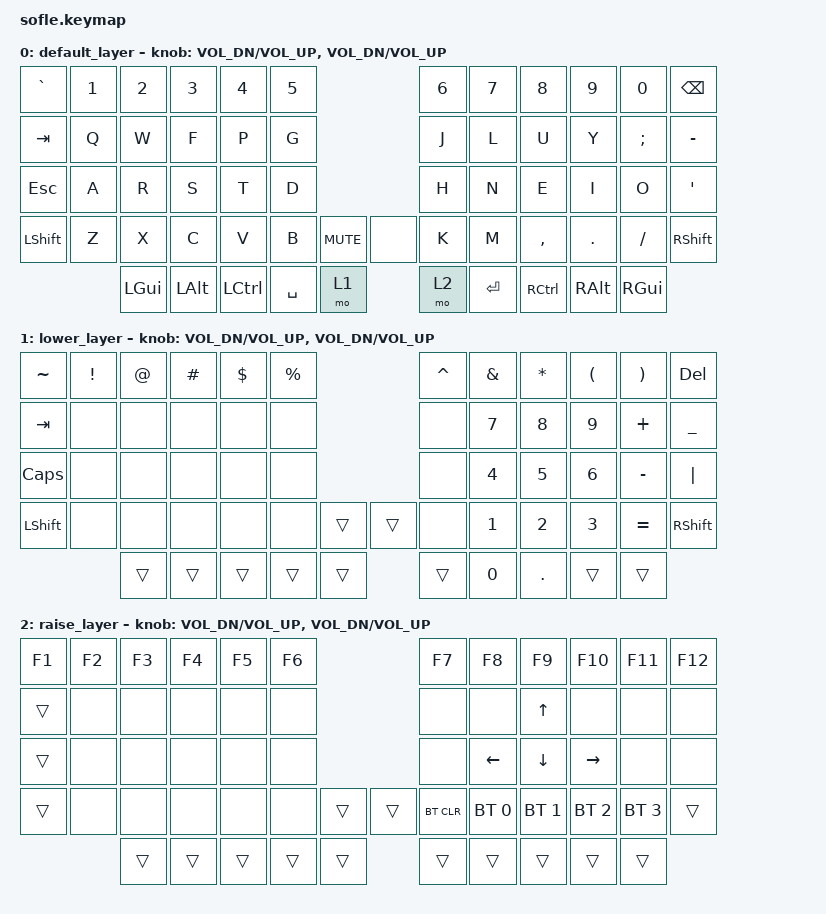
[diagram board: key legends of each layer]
#include <behaviors.dtsi>
#include <dt-bindings/zmk/keys.h>
#include <dt-bindings/zmk/bt.h>

/ {
    keymap {
        compatible = "zmk,keymap";

        default_layer {
            // ┌─────────┬─────┬─────┬─────┬─────┬─────┐               ┌─────┬─────┬─────┬─────┬─────┬─────────┐
            // │  GRAVE  │  1  │  2  │  3  │  4  │  5  │               │  6  │  7  │  8  │  9  │  0  │  BSPC   │
            // ├─────────┼─────┼─────┼─────┼─────┼─────┤               ├─────┼─────┼─────┼─────┼─────┼─────────┤
            // │  TAB    │  Q  │  W  │  F  │  P  │  G  │               │  J  │  L  │  U  │  Y  │  ;  │   -     │
            // ├─────────┼─────┼─────┼─────┼─────┼─────┤               ├─────┼─────┼─────┼─────┼─────┼─────────┤
            // │  ESC    │  A  │  R  │  S  │  T  │  D  │               │  H  │  N  │  E  │  I  │  O  │   '     │
            // ├─────────┼─────┼─────┼─────┼─────┼─────┼──────┐ ┌──────┼─────┼─────┼─────┼─────┼─────┼─────────┤
            // │  LSHFT  │  Z  │  X  │  C  │  V  │  B  │ MUTE │ │      │  K  │  M  │  ,  │  .  │  /  │  RSHFT  │
            // └─────────┴─────┴─────┼─────┼─────┼─────┼──────┘ └──────┼─────┼─────┼─────┼─────┴─────┴─────────┘
            //                       │ GUI │ ALT │ CTL │ SPC  │ │ MO2  │ ENT │ CTL │ ALT │
            //                       └─────┴─────┴─────┴──────┘ └──────┴─────┴─────┴─────┘
            bindings = <
    &kp GRAVE  &kp N1   &kp N2   &kp N3    &kp N4    &kp N5                       &kp N6   &kp N7   &kp N8    &kp N9   &kp N0   &kp BSPC
    &kp TAB    &kp Q    &kp W    &kp F     &kp P     &kp G                        &kp J    &kp L    &kp U     &kp Y    &kp SEMI &kp MINUS
    &kp ESC    &kp A    &kp R    &kp S     &kp T     &kp D                        &kp H    &kp N    &kp E     &kp I    &kp O    &kp SQT
    &kp LSHFT  &kp Z    &kp X    &kp C     &kp V     &kp B    &kp C_MUTE  &none   &kp K    &kp M    &kp COMMA &kp DOT  &kp FSLH &kp RSHFT
                        &kp LGUI &kp LALT  &kp LCTRL &kp SPACE &mo 1               &mo 2   &kp RET  &kp RCTRL &kp RALT &kp RGUI
            >;
            sensor-bindings = <&inc_dec_kp C_VOL_DN C_VOL_UP &inc_dec_kp C_VOL_DN C_VOL_UP>;
        };

        lower_layer {
            bindings = <
    &kp TILDE  &kp EXCL &kp AT   &kp HASH  &kp DLLR  &kp PRCNT                    &kp CARET &kp AMPS &kp ASTRK &kp LPAR &kp RPAR &kp DEL
    &kp TAB    &none    &none    &none     &none     &none                         &none     &kp N7   &kp N8    &kp N9   &kp PLUS &kp UNDER
    &kp CAPS   &none    &none    &none     &none     &none                         &none     &kp N4   &kp N5    &kp N6   &kp MINUS &kp PIPE
    &kp LSHFT  &none    &none    &none     &none     &none    &trans      &trans    &none     &kp N1   &kp N2    &kp N3   &kp EQUAL &kp RSHFT
                        &trans   &trans    &trans    &trans   &trans                &trans    &kp N0   &kp DOT   &trans   &trans
            >;
            sensor-bindings = <&inc_dec_kp C_VOL_DN C_VOL_UP &inc_dec_kp C_VOL_DN C_VOL_UP>;
        };

        raise_layer {
            bindings = <
    &kp F1     &kp F2   &kp F3   &kp F4    &kp F5    &kp F6                       &kp F7   &kp F8   &kp F9    &kp F10  &kp F11  &kp F12
    &trans     &none    &none    &none     &none     &none                         &none    &none    &kp UP    &none    &none    &none
    &trans     &none    &none    &none     &none     &none                         &none    &kp LEFT &kp DOWN  &kp RIGHT &none   &none
    &trans     &none    &none    &none     &none     &none    &trans      &trans    &bt BT_CLR &bt BT_SEL 0 &bt BT_SEL 1 &bt BT_SEL 2 &bt BT_SEL 3 &trans
                        &trans   &trans    &trans    &trans   &trans                &trans   &trans   &trans    &trans   &trans
            >;
            sensor-bindings = <&inc_dec_kp C_VOL_DN C_VOL_UP &inc_dec_kp C_VOL_DN C_VOL_UP>;
        };
    };
};
